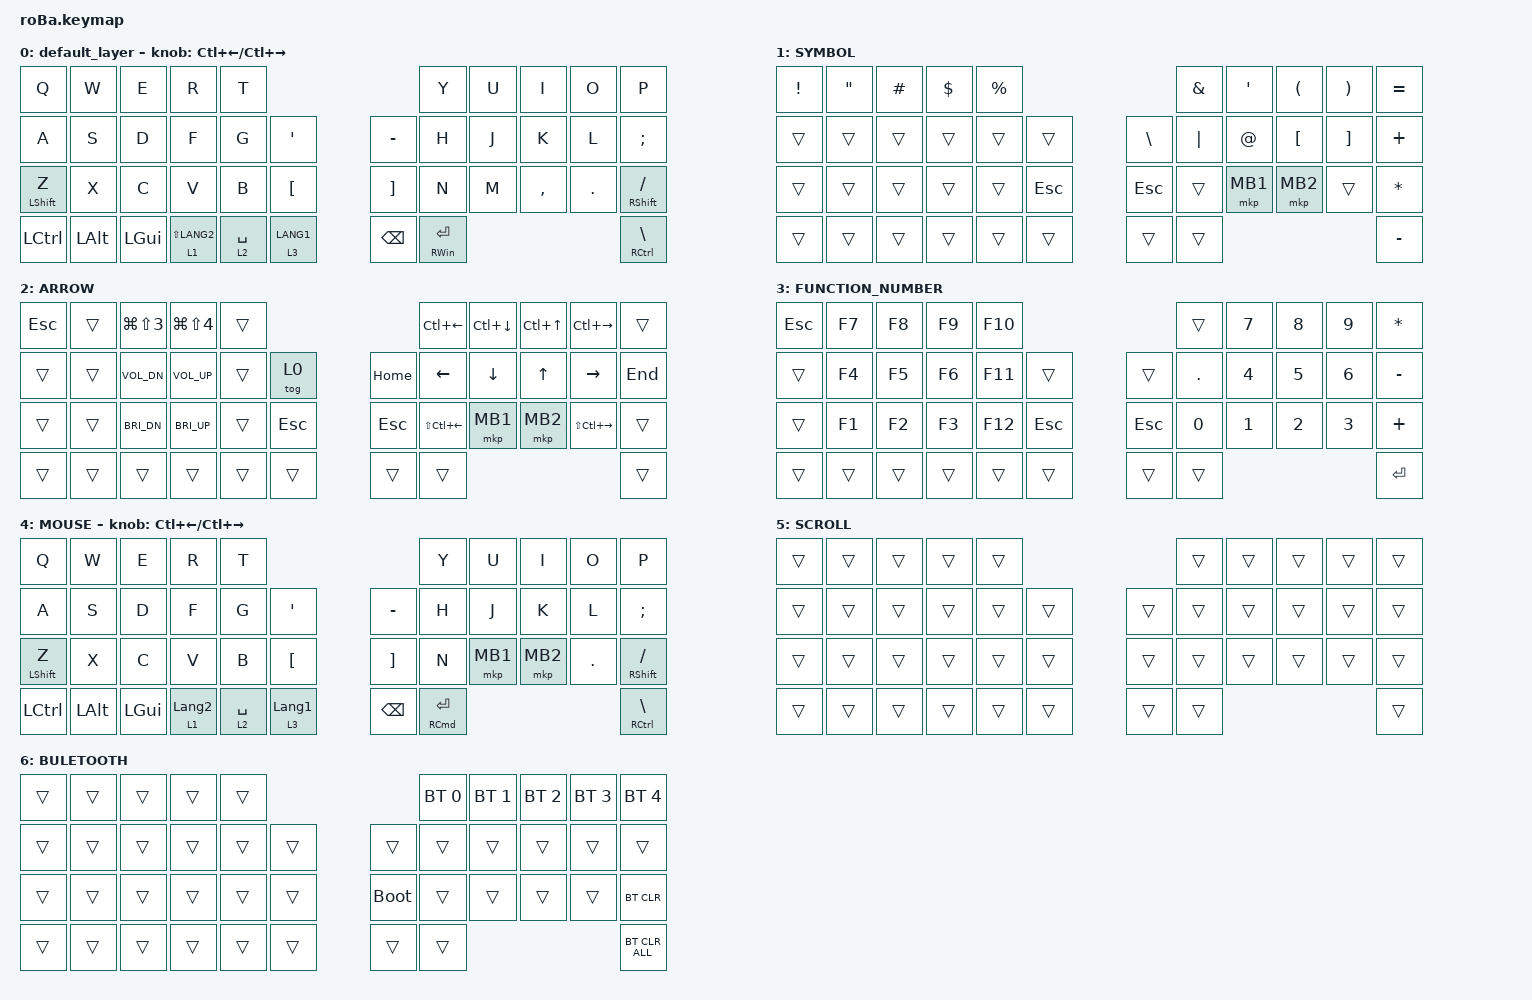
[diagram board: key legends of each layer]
#include <behaviors.dtsi>
#include <dt-bindings/zmk/bt.h>
#include <dt-bindings/zmk/keys.h>
#include <dt-bindings/zmk/pointing.h>

#define MOUSE 4
#define SCROLL 5
#define NUM 6

&mt {
    flavor = "balanced";
    quick-tap-ms = <0>;
};

/ {
    combos {
        compatible = "zmk,combos";

        tab {
            bindings = <&kp TAB>;
            key-positions = <11 12>;
        };

        shift_tab {
            bindings = <&kp LS(TAB)>;
            key-positions = <12 13>;
        };

        muhennkann {
            bindings = <&to_layer_0 INT_MUHENKAN>;
            key-positions = <11 10>;
        };

        double_quotation {
            bindings = <&kp DOUBLE_QUOTES>;
            key-positions = <20 21>;
        };

        eq {
            bindings = <&kp EQUAL>;
            key-positions = <24 25>;
        };

        Layer6 {
            bindings = <&to 6>;
            key-positions = <34 35>;
        };

        caps {
            bindings = <&kp CAPS>;
            key-positions = <23 24>;
        };

        Scroll {
            bindings = <&to 5>;
            key-positions = <19 20>;
        };
    };

    macros {
        to_layer_0: to_layer_0 {
            compatible = "zmk,behavior-macro-one-param";
            #binding-cells = <1>;
            bindings = <&to 0 &macro_param_1to1 &kp MACRO_PLACEHOLDER>;
            label = "TO_LAYER_0";
        };
    };

    behaviors {
        lt_to_layer_0: lt_to_layer_0 {
            compatible = "zmk,behavior-hold-tap";
            label = "LAYER_TAP_TO_0";
            bindings = <&mo>, <&to_layer_0>;

            #binding-cells = <2>;
            tapping-term-ms = <200>;
        };
    };

    keymap {
        compatible = "zmk,keymap";

        default_layer {
            bindings = <
&kp Q             &kp W     &kp E     &kp R                       &kp T                                                       &kp Y                &kp U  &kp I      &kp O    &kp P
&kp A             &kp S     &kp D     &kp F                       &kp G        &kp SINGLE_QUOTE            &kp MINUS          &kp H                &kp J  &kp K      &kp L    &kp SEMICOLON
&mt LEFT_SHIFT Z  &kp X     &kp C     &kp V                       &kp B        &kp LEFT_BRACKET            &kp RIGHT_BRACKET  &kp N                &kp M  &kp COMMA  &kp DOT  &mt RIGHT_SHIFT SLASH
&kp LCTRL         &kp LALT  &kp LGUI  &lt_to_layer_0 1 LS(LANG2)  &lt 2 SPACE  &lt_to_layer_0 3 LANG1      &kp BACKSPACE      &mt RIGHT_WIN ENTER                             &mt RIGHT_CONTROL BACKSLASH
            >;

            sensor-bindings = <&inc_dec_kp LC(LEFT) LC(RIGHT)>;
        };

        SYMBOL {
            bindings = <
&kp EXCLAMATION  &kp DOUBLE_QUOTES  &kp HASH  &kp DOLLAR  &kp PERCENT                                 &kp AMPERSAND  &kp SQT      &kp LEFT_PARENTHESIS  &kp RIGHT_PARENTHESIS  &kp EQUAL
&trans           &trans             &trans    &trans      &trans       &trans          &kp BACKSLASH  &kp PIPE       &kp AT_SIGN  &kp LEFT_BRACKET      &kp RIGHT_BRACKET      &kp PLUS
&trans           &trans             &trans    &trans      &trans       &kp ESCAPE      &kp ESCAPE     &trans         &mkp MB1     &mkp MB2              &trans                 &kp ASTERISK
&trans           &trans             &trans    &trans      &trans       &trans          &trans         &trans                                                                   &kp MINUS
            >;
        };

        ARROW {
            bindings = <
&kp ESCAPE  &trans  &kp LG(LS(NUMBER_3))  &kp LG(LS(NUMBER_4))  &trans                              &kp LC(LEFT_ARROW)      &kp LC(DOWN_ARROW)  &kp LC(UP_ARROW)  &kp LC(RIGHT_ARROW)      &trans
&trans      &trans  &kp C_VOL_DN          &kp C_VOL_UP          &trans  &tog 0          &kp HOME    &kp LEFT_ARROW          &kp DOWN_ARROW      &kp UP_ARROW      &kp RIGHT_ARROW          &kp END
&trans      &trans  &kp C_BRI_DN          &kp C_BRI_UP          &trans  &kp ESCAPE      &kp ESCAPE  &kp LS(LC(LEFT_ARROW))  &mkp MB1            &mkp MB2          &kp LS(LC(RIGHT_ARROW))  &trans
&trans      &trans  &trans                &trans                &trans  &trans          &trans      &trans                                                                                 &trans
            >;
        };

        FUNCTION_NUMBER {
            bindings = <
&kp ESCAPE  &kp F7  &kp F8  &kp F9  &kp F10                              &trans      &kp NUMBER_7  &kp NUMBER_8  &kp NUMBER_9  &kp ASTERISK
&trans      &kp F4  &kp F5  &kp F6  &kp F11  &trans          &trans      &kp PERIOD  &kp NUMBER_4  &kp NUMBER_5  &kp NUMBER_6  &kp MINUS
&trans      &kp F1  &kp F2  &kp F3  &kp F12  &kp ESCAPE      &kp ESCAPE  &kp N0      &kp NUMBER_1  &kp NUMBER_2  &kp NUMBER_3  &kp PLUS
&trans      &trans  &trans  &trans  &trans   &trans          &trans      &trans                                                &kp ENTER
            >;
        };

        MOUSE {
            bindings = <
&kp Q             &kp W     &kp E     &kp R                        &kp T                                                                   &kp Y                    &kp U     &kp I     &kp O    &kp P
&kp A             &kp S     &kp D     &kp F                        &kp G                   &kp APOS                         &kp MINUS      &kp H                    &kp J     &kp K     &kp L    &kp SEMI
&mt LEFT_SHIFT Z  &kp X     &kp C     &kp V                        &kp B                   &kp LBKT                         &kp RBKT       &kp N                    &mkp MB1  &mkp MB2  &kp DOT  &mt RIGHT_SHIFT SLASH
&kp LCTRL         &kp LALT  &kp LGUI  &lt_to_layer_0 1 LANGUAGE_2  &lt_to_layer_0 2 SPACE  &lt_to_layer_0 3 LANGUAGE_1      &kp BACKSPACE  &mt RIGHT_COMMAND ENTER                               &mt RIGHT_CONTROL BACKSLASH
            >;

            sensor-bindings = <&inc_dec_kp LC(LEFT_ARROW) LC(RIGHT_ARROW)>;
        };

        SCROLL {
            bindings = <
&trans  &trans  &trans  &trans  &trans                      &trans  &trans  &trans  &trans  &trans
&trans  &trans  &trans  &trans  &trans  &trans      &trans  &trans  &trans  &trans  &trans  &trans
&trans  &trans  &trans  &trans  &trans  &trans      &trans  &trans  &trans  &trans  &trans  &trans
&trans  &trans  &trans  &trans  &trans  &trans      &trans  &trans                          &trans
            >;
        };

        BULETOOTH {
            bindings = <
&trans  &trans  &trans  &trans  &trans                           &bt BT_SEL 0  &bt BT_SEL 1  &bt BT_SEL 2  &bt BT_SEL 3  &bt BT_SEL 4
&trans  &trans  &trans  &trans  &trans  &trans      &trans       &trans        &trans        &trans        &trans        &trans
&trans  &trans  &trans  &trans  &trans  &trans      &bootloader  &trans        &trans        &trans        &trans        &bt BT_CLR
&trans  &trans  &trans  &trans  &trans  &trans      &trans       &trans                                                  &bt BT_CLR_ALL
            >;
        };
    };
};
